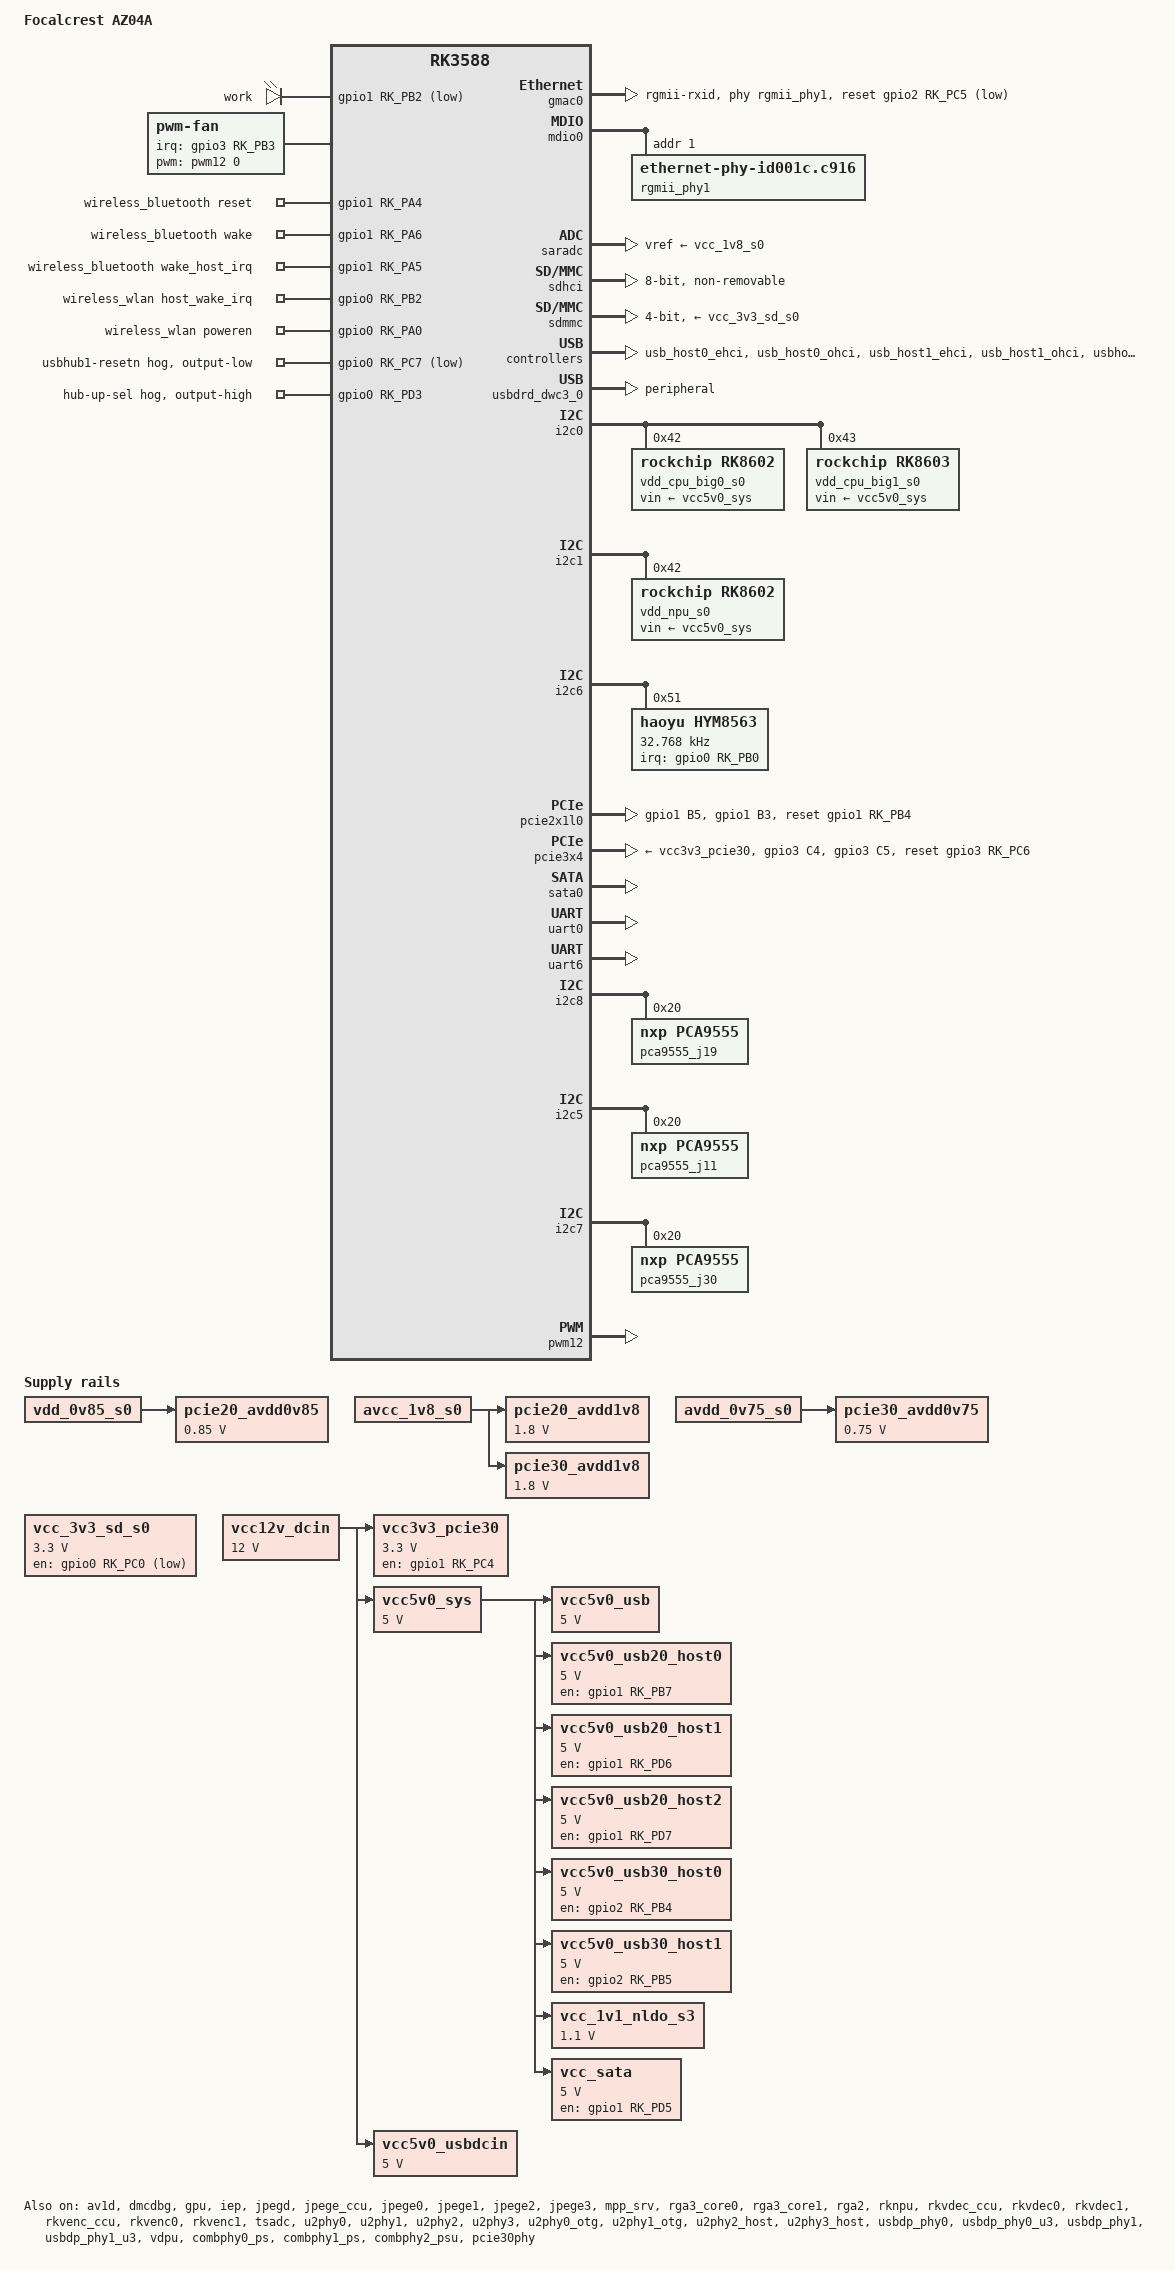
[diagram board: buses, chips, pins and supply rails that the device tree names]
// SPDX-License-Identifier: (GPL-2.0+ OR MIT)
/*
 * Copyright (c) 2025 Rockchip Electronics Co., Ltd.
 * Copyright (c) 2026 Focalcrest Co., Ltd.
 *
 */

/dts-v1/;

#include <dt-bindings/gpio/gpio.h>
#include <dt-bindings/pwm/pwm.h>
#include <dt-bindings/pinctrl/rockchip.h>
#include <dt-bindings/input/rk-input.h>
#include <dt-bindings/display/drm_mipi_dsi.h>
#include <dt-bindings/display/rockchip_vop.h>
#include <dt-bindings/sensor-dev.h>

#include "dt-bindings/usb/pd.h"
#include "rk3588.dtsi"
#include "rk3588-rk806-single.dtsi"
#include "rk3588-linux.dtsi"

/ {
	model = "Focalcrest AZ04A";
	compatible = "rockchip,rk3588-focalcrest-az04a", "rockchip,rk3588";

	leds: gpio-leds {
		compatible = "gpio-leds";

		work_led: work {
			gpios = <&gpio1 RK_PB2 GPIO_ACTIVE_LOW>;
			label = "work";
			linux,default-trigger = "timer";
			pinctrl-names = "default";
			pinctrl-0 = <&work_ctl>;
		};
	};

	pcie20_avdd0v85: pcie20-avdd0v85 {
		compatible = "regulator-fixed";
		regulator-name = "pcie20_avdd0v85";
		regulator-boot-on;
		regulator-always-on;
		regulator-min-microvolt = <850000>;
		regulator-max-microvolt = <850000>;
		vin-supply = <&vdd_0v85_s0>;
	};

	pcie20_avdd1v8: pcie20-avdd1v8 {
		compatible = "regulator-fixed";
		regulator-name = "pcie20_avdd1v8";
		regulator-boot-on;
		regulator-always-on;
		regulator-min-microvolt = <1800000>;
		regulator-max-microvolt = <1800000>;
		vin-supply = <&avcc_1v8_s0>;
	};

	pcie30_avdd0v75: pcie30-avdd0v75 {
		compatible = "regulator-fixed";
		regulator-name = "pcie30_avdd0v75";
		regulator-boot-on;
		regulator-always-on;
		regulator-min-microvolt = <750000>;
		regulator-max-microvolt = <750000>;
		vin-supply = <&avdd_0v75_s0>;
	};

	pcie30_avdd1v8: pcie30-avdd1v8 {
		compatible = "regulator-fixed";
		regulator-name = "pcie30_avdd1v8";
		regulator-boot-on;
		regulator-always-on;
		regulator-min-microvolt = <1800000>;
		regulator-max-microvolt = <1800000>;
		vin-supply = <&avcc_1v8_s0>;
	};

	vcc3v3_pcie30: vcc3v3-pcie30 {
		compatible = "regulator-fixed";
		regulator-name = "vcc3v3_pcie30";
		regulator-min-microvolt = <3300000>;
		regulator-max-microvolt = <3300000>;
		enable-active-high;
		gpios = <&gpio1 RK_PC4 GPIO_ACTIVE_HIGH>;
		startup-delay-us = <5000>;
		vin-supply = <&vcc12v_dcin>;
	};

	/* Q1 AO3407 is a P-FET, so SDMMC_PWREN is active low */
	vcc_3v3_sd_s0: vcc-3v3-sd-s0-regulator {
		compatible = "regulator-fixed";
		gpio = <&gpio0 RK_PC0 GPIO_ACTIVE_LOW>;
		pinctrl-names = "default";
		pinctrl-0 = <&sd_s0_pwr>;
		regulator-name = "vcc_3v3_sd_s0";
		regulator-min-microvolt = <3300000>;
		regulator-max-microvolt = <3300000>;
	};

	vcc12v_dcin: vcc12v-dcin {
		compatible = "regulator-fixed";
		regulator-name = "vcc12v_dcin";
		regulator-always-on;
		regulator-boot-on;
		regulator-min-microvolt = <12000000>;
		regulator-max-microvolt = <12000000>;
	};

	vcc5v0_sys: vcc5v0-sys {
		compatible = "regulator-fixed";
		regulator-name = "vcc5v0_sys";
		regulator-always-on;
		regulator-boot-on;
		regulator-min-microvolt = <5000000>;
		regulator-max-microvolt = <5000000>;
		vin-supply = <&vcc12v_dcin>;
	};

	vcc5v0_usbdcin: vcc5v0-usbdcin {
		compatible = "regulator-fixed";
		regulator-name = "vcc5v0_usbdcin";
		regulator-always-on;
		regulator-boot-on;
		regulator-min-microvolt = <5000000>;
		regulator-max-microvolt = <5000000>;
		vin-supply = <&vcc12v_dcin>;
	};

	/* USB30_HOST2/3 are switched by the hubs, not by the SoC */
	vcc5v0_usb: vcc5v0-usb {
		compatible = "regulator-fixed";
		regulator-name = "vcc5v0_usb";
		regulator-boot-on;
		regulator-always-on;
		regulator-min-microvolt = <5000000>;
		regulator-max-microvolt = <5000000>;
		vin-supply = <&vcc5v0_sys>;
	};

	vcc5v0_usb20_host0: vcc5v0-usb20-host0 {
		compatible = "regulator-fixed";
		regulator-name = "vcc5v0_usb20_host0";
		regulator-boot-on;
		regulator-always-on;
		regulator-min-microvolt = <5000000>;
		regulator-max-microvolt = <5000000>;
		gpio = <&gpio1 RK_PB7 GPIO_ACTIVE_HIGH>;
		enable-active-high;
		startup-delay-us = <5000>;
		vin-supply = <&vcc5v0_sys>;
		pinctrl-names = "default";
		pinctrl-0 = <&usb20_host_pwren0_1v8>;
	};

	vcc5v0_usb20_host1: vcc5v0-usb20-host1 {
		compatible = "regulator-fixed";
		regulator-name = "vcc5v0_usb20_host1";
		regulator-boot-on;
		regulator-always-on;
		regulator-min-microvolt = <5000000>;
		regulator-max-microvolt = <5000000>;
		gpio = <&gpio1 RK_PD6 GPIO_ACTIVE_HIGH>;
		enable-active-high;
		startup-delay-us = <5000>;
		vin-supply = <&vcc5v0_sys>;
		pinctrl-names = "default";
		pinctrl-0 = <&usb20_host_pwren1_1v8>;
	};

	vcc5v0_usb20_host2: vcc5v0-usb20-host2 {
		compatible = "regulator-fixed";
		regulator-name = "vcc5v0_usb20_host2";
		regulator-boot-on;
		regulator-always-on;
		regulator-min-microvolt = <5000000>;
		regulator-max-microvolt = <5000000>;
		gpio = <&gpio1 RK_PD7 GPIO_ACTIVE_HIGH>;
		enable-active-high;
		startup-delay-us = <5000>;
		vin-supply = <&vcc5v0_sys>;
		pinctrl-names = "default";
		pinctrl-0 = <&usb20_host_pwren2_1v8>;
	};

	vcc5v0_usb30_host0: vcc5v0-usb30-host0 {
		compatible = "regulator-fixed";
		regulator-name = "vcc5v0_usb30_host0";
		regulator-boot-on;
		regulator-always-on;
		regulator-min-microvolt = <5000000>;
		regulator-max-microvolt = <5000000>;
		gpio = <&gpio2 RK_PB4 GPIO_ACTIVE_HIGH>;
		enable-active-high;
		startup-delay-us = <5000>;
		vin-supply = <&vcc5v0_sys>;
		pinctrl-names = "default";
		pinctrl-0 = <&usb30_host_pwren0_1v8>;
	};

	vcc5v0_usb30_host1: vcc5v0-usb30-host1 {
		compatible = "regulator-fixed";
		regulator-name = "vcc5v0_usb30_host1";
		regulator-boot-on;
		regulator-always-on;
		regulator-min-microvolt = <5000000>;
		regulator-max-microvolt = <5000000>;
		gpio = <&gpio2 RK_PB5 GPIO_ACTIVE_HIGH>;
		enable-active-high;
		startup-delay-us = <5000>;
		vin-supply = <&vcc5v0_sys>;
		pinctrl-names = "default";
		pinctrl-0 = <&usb30_host_pwren1_1v8>;
	};

	vcc_1v1_nldo_s3: vcc-1v1-nldo-s3 {
		compatible = "regulator-fixed";
		regulator-name = "vcc_1v1_nldo_s3";
		regulator-always-on;
		regulator-boot-on;
		regulator-min-microvolt = <1100000>;
		regulator-max-microvolt = <1100000>;
		vin-supply = <&vcc5v0_sys>;
	};

	vcc_sata: vcc-sata {
		compatible = "regulator-fixed";
		regulator-name = "vcc_sata";
		regulator-min-microvolt = <5000000>;
		regulator-max-microvolt = <5000000>;
		gpio = <&gpio1 RK_PD5 GPIO_ACTIVE_HIGH>;
		enable-active-high;
		startup-delay-us = <5000>;
		vin-supply = <&vcc5v0_sys>;
		pinctrl-names = "default";
		pinctrl-0 = <&sata_pwr>;
	};

	fan: pwm-fan {
		compatible = "pwm-fan";
		interrupt-parent = <&gpio3>;
		interrupts = <RK_PB3 IRQ_TYPE_EDGE_FALLING>;
		pulses-per-revolution = <2>;
		#cooling-cells = <2>;
		pwms = <&pwm12 0 50000 0>;
	};

	wireless_bluetooth: wireless-bluetooth {
		compatible = "bluetooth-platdata";
		clocks = <&hym8563>;
		clock-names = "ext_clock";
		pinctrl-names = "default";
		pinctrl-0 = <&uart6m1_rtsn>;
		BT,reset_gpio    = <&gpio1 RK_PA4 GPIO_ACTIVE_HIGH>;
		BT,wake_gpio     = <&gpio1 RK_PA6 GPIO_ACTIVE_HIGH>;
		BT,wake_host_irq = <&gpio1 RK_PA5 GPIO_ACTIVE_HIGH>;
		status = "okay";
	};

	wireless_wlan: wireless-wlan {
		compatible = "wlan-platdata";
		wifi_chip_type = "ap6275p";
		pinctrl-names = "default";
		pinctrl-0 = <&wifi_host_wake_irq>, <&wifi_poweren_gpio>;
		WIFI,host_wake_irq = <&gpio0 RK_PB2 GPIO_ACTIVE_HIGH>;
		WIFI,poweren_gpio = <&gpio0 RK_PA0 GPIO_ACTIVE_HIGH>;
		status = "okay";
	};

};

&gpio0 {
	/* release USBHUB1 reset (RSTn is active low) */
	usbhub1-resetn-hog {
		gpio-hog;
		gpios = <RK_PC7 GPIO_ACTIVE_LOW>;
		output-low;
		line-name = "usbhub1-resetn";
	};

	/* HUB_UP_SEL high: HUB0 upstream comes from the SoC, not from HUB1 */
	hub-up-sel-hog {
		gpio-hog;
		gpios = <RK_PD3 GPIO_ACTIVE_HIGH>;
		output-high;
		line-name = "hub-up-sel";
	};
};

&gmac0 {
	/* Use rgmii-rxid mode to disable rx delay inside Soc */
	phy-mode = "rgmii-rxid";
	clock_in_out = "output";

	snps,reset-gpio = <&gpio2 RK_PC5 GPIO_ACTIVE_HIGH>;
	snps,reset-active-low;
	/* Reset time is 20ms, 100ms for rtl8211f */
	snps,reset-delays-us = <0 20000 100000>;

	pinctrl-names = "default";
	pinctrl-0 = <&gmac0_miim
		     &gmac0_tx_bus2
		     &gmac0_rx_bus2
		     &gmac0_rgmii_clk
		     &gmac0_rgmii_bus>;

	tx_delay = <0x43>;
	rx_delay = <0x3f>;

	phy-handle = <&rgmii_phy1>;
	status = "okay";
};

&mdio0 {
	rgmii_phy1: phy@1 {
		compatible = "ethernet-phy-id001c.c916";
		reg = <0x1>;
	};
};

/* No display on this board */
&display_subsystem {
	status = "disabled";
};

&drm_logo {
	status = "disabled";
};

&drm_cubic_lut {
	status = "disabled";
};

&av1d {
	status = "okay";
};

&av1d_mmu {
	status = "okay";
};

&cpu_l0 {
	cpu-supply = <&vdd_cpu_lit_s0>;
	mem-supply = <&vdd_cpu_lit_mem_s0>;
};

&cpu_b0 {
	cpu-supply = <&vdd_cpu_big0_s0>;
	mem-supply = <&vdd_cpu_big0_mem_s0>;
};

&cpu_b2 {
	cpu-supply = <&vdd_cpu_big1_s0>;
	mem-supply = <&vdd_cpu_big1_mem_s0>;
};

&dmcdbg {
	status = "okay";
};

&gpu {
	mali-supply = <&vdd_gpu_s0>;
	mem-supply = <&vdd_gpu_mem_s0>;
	status = "okay";
};

&iep {
	status = "okay";
};

&iep_mmu {
	status = "okay";
};

&jpegd {
	status = "okay";
};

&jpegd_mmu {
	status = "okay";
};

&jpege_ccu {
	status = "okay";
};

&jpege0 {
	status = "okay";
};

&jpege0_mmu {
	status = "okay";
};

&jpege1 {
	status = "okay";
};

&jpege1_mmu {
	status = "okay";
};

&jpege2 {
	status = "okay";
};

&jpege2_mmu {
	status = "okay";
};

&jpege3 {
	status = "okay";
};

&jpege3_mmu {
	status = "okay";
};

&mpp_srv {
	status = "okay";
};

&rga3_core0 {
	status = "okay";
};

&rga3_0_mmu {
	status = "okay";
};

&rga3_core1 {
	status = "okay";
};

&rga3_1_mmu {
	status = "okay";
};

&rga2 {
	status = "okay";
};

&rknpu {
	rknpu-supply = <&vdd_npu_s0>;
	mem-supply = <&vdd_npu_mem_s0>;
	status = "okay";
};

&rknpu_mmu {
	status = "okay";
};

&rkvdec_ccu {
	status = "okay";
};

&rkvdec0 {
	status = "okay";
};

&rkvdec0_mmu {
	status = "okay";
};

&rkvdec1 {
	status = "okay";
};

&rkvdec1_mmu {
	status = "okay";
};

&rkvenc_ccu {
	status = "okay";
};

&rkvenc0 {
	venc-supply = <&vdd_vdenc_s0>;
	mem-supply = <&vdd_vdenc_mem_s0>;
	status = "okay";
};

&rkvenc0_mmu {
	status = "okay";
};

&rkvenc1 {
	venc-supply = <&vdd_vdenc_s0>;
	mem-supply = <&vdd_vdenc_mem_s0>;
	status = "okay";
};

&rkvenc1_mmu {
	status = "okay";
};

&rockchip_suspend {
	status = "okay";
	rockchip,sleep-debug-en = <1>;
	/* No RKPM_SLP_32K_EXT: clk32k_in (GPIO0_B2) is used as wifi host wake */
	rockchip,sleep-mode-config = <
		(0
		| RKPM_SLP_ARMOFF_DDRPD
		| RKPM_SLP_PMU_PMUALIVE_32K
		| RKPM_SLP_PMU_DIS_OSC
		)
	>;
	rockchip,wakeup-config = <
		(0
		| RKPM_GPIO_WKUP_EN
		| RKPM_CPU0_WKUP_EN
		)
	>;
};

/* RKPM_SLP_ARMOFF_DDRPD keeps the logic domain alive, so do not cut these */
&vdd_log_s0 {
	regulator-state-mem {
		/delete-property/ regulator-off-in-suspend;
		/delete-property/ regulator-suspend-microvolt;
		regulator-on-in-suspend;
	};
};

&vcc_1v8_s0 {
	regulator-state-mem {
		/delete-property/ regulator-off-in-suspend;
		/delete-property/ regulator-suspend-microvolt;
		regulator-on-in-suspend;
	};
};

&saradc {
	status = "okay";
	vref-supply = <&vcc_1v8_s0>;
};

&sdhci {
	bus-width = <8>;
	no-sdio;
	no-sd;
	non-removable;
	max-frequency = <200000000>;
	mmc-hs400-1_8v;
	mmc-hs400-enhanced-strobe;
	status = "okay";
};

&sdmmc {
	pinctrl-names = "default";
	pinctrl-0 = <&sdmmc_clk &sdmmc_cmd &sdmmc_det &sdmmc_bus4>;
	max-frequency = <200000000>;
	no-sdio;
	no-mmc;
	bus-width = <4>;
	cap-mmc-highspeed;
	cap-sd-highspeed;
	disable-wp;
	sd-uhs-sdr104;
	vmmc-supply = <&vcc_3v3_sd_s0>;
	vqmmc-supply = <&vccio_sd_s0>;
	status = "okay";
};

&tsadc {
	status = "okay";
};

&u2phy0 {
	status = "okay";
};

&u2phy1 {
	status = "okay";
	phy-supply = <&vcc5v0_usb>;
};

&u2phy2 {
	status = "okay";
	phy-supply = <&vcc5v0_usb>;
};

&u2phy3 {
	status = "okay";
	phy-supply = <&vcc5v0_usb>;
};

&u2phy0_otg {
	status = "okay";
	rockchip,typec-vbus-det;
};

&u2phy1_otg {
	status = "okay";
};

&u2phy2_host {
	status = "okay";
	phy-supply = <&vcc5v0_usb>;
};

&u2phy3_host {
	status = "okay";
	phy-supply = <&vcc5v0_usb>;
};

&usb_host0_ehci {
	status = "okay";
};

&usb_host0_ohci {
	status = "okay";
};

&usb_host1_ehci {
	status = "okay";
};

&usb_host1_ohci {
	status = "okay";
};

&usbhost3_0 {
	status = "okay";
};

&usbhost_dwc3_0 {
	status = "okay";
};

// USB3.0/DP Combo PHY0
&usbdp_phy0 {
	status = "okay";
};

&usbdp_phy0_u3 {
	status = "okay";
};

&usbdp_phy1 {
	status = "okay";
};

&usbdp_phy1_u3 {
	status = "okay";
};

&usbdrd3_0 {
	status = "okay";
};

&usbdrd_dwc3_0 {
	dr_mode = "peripheral";
	status = "okay";
};

&usbdrd3_1 {
	status = "okay";
};

&usbdrd_dwc3_1 {
	status = "okay";
};

&vdpu {
	status = "okay";
};

&vdpu_mmu {
	status = "okay";
};

&combphy0_ps {
	status = "okay";
};

&combphy1_ps {
	status = "okay";
};

&combphy2_psu {
	status = "okay";
};

&i2c0 {
	status = "okay";
	pinctrl-names = "default";
	pinctrl-0 = <&i2c0m2_xfer>;

	vdd_cpu_big0_s0: vdd_cpu_big0_mem_s0: rk8602@42 {
		compatible = "rockchip,rk8602";
		reg = <0x42>;
		vin-supply = <&vcc5v0_sys>;
		regulator-compatible = "rk860x-reg";
		regulator-name = "vdd_cpu_big0_s0";
		regulator-min-microvolt = <550000>;
		regulator-max-microvolt = <1050000>;
		regulator-ramp-delay = <2300>;
		rockchip,suspend-voltage-selector = <1>;
		regulator-boot-on;
		regulator-always-on;
		regulator-state-mem {
			regulator-off-in-suspend;
		};
	};

	vdd_cpu_big1_s0: vdd_cpu_big1_mem_s0: rk8603@43 {
		compatible = "rockchip,rk8603";
		reg = <0x43>;
		vin-supply = <&vcc5v0_sys>;
		regulator-compatible = "rk860x-reg";
		regulator-name = "vdd_cpu_big1_s0";
		regulator-min-microvolt = <550000>;
		regulator-max-microvolt = <1050000>;
		regulator-ramp-delay = <2300>;
		rockchip,suspend-voltage-selector = <1>;
		regulator-boot-on;
		regulator-always-on;
		regulator-state-mem {
			regulator-off-in-suspend;
		};
	};
};

&i2c1 {
	status = "okay";
	pinctrl-names = "default";
	pinctrl-0 = <&i2c1m2_xfer>;

	vdd_npu_s0: vdd_npu_mem_s0: rk8602@42 {
		compatible = "rockchip,rk8602";
		reg = <0x42>;
		vin-supply = <&vcc5v0_sys>;
		regulator-compatible = "rk860x-reg";
		regulator-name = "vdd_npu_s0";
		regulator-min-microvolt = <550000>;
		regulator-max-microvolt = <950000>;
		regulator-ramp-delay = <2300>;
		rockchip,suspend-voltage-selector = <1>;
		regulator-boot-on;
		regulator-always-on;
		regulator-state-mem {
			regulator-off-in-suspend;
		};
	};
};

&i2c6 {
	status = "okay";
	pinctrl-0 = <&i2c6m4_xfer>;

	hym8563: hym8563@51 {
		compatible = "haoyu,hym8563";
		reg = <0x51>;
		#clock-cells = <0>;
		clock-frequency = <32768>;
		clock-output-names = "hym8563";
		pinctrl-names = "default";
		pinctrl-0 = <&hym8563_int>;
		interrupt-parent = <&gpio0>;
		interrupts = <RK_PB0 IRQ_TYPE_LEVEL_LOW>;
		wakeup-source;
	};
};

&pcie2x1l0 { // combphy1, to AP6275P
	pinctrl-0 = <&pcie2x1l0_pins>;
	pinctrl-names = "default";
	reset-gpios = <&gpio1 RK_PB4 GPIO_ACTIVE_HIGH>;
	status = "okay";
};

&pcie30phy {
	rockchip,pcie30-phymode = <PHY_MODE_PCIE_AGGREGATION>; /* single PCIe3 x4 */
	status = "okay";
};

&pcie3x4 {
	pinctrl-0 = <&pcie30x4m2_clkreq_wake>;
	pinctrl-names = "default";
	reset-gpios = <&gpio3 RK_PC6 GPIO_ACTIVE_HIGH>;
	vpcie3v3-supply = <&vcc3v3_pcie30>;
	status = "okay";
};

&pinctrl {
	work {
		work_ctl: work-ctl {
			rockchip,pins = <1 RK_PB2 RK_FUNC_GPIO &pcfg_pull_up>;
		};
	};

	sdmmc {
		sd_s0_pwr: sd-s0-pwr {
			rockchip,pins = <0 RK_PC0 RK_FUNC_GPIO &pcfg_pull_up>;
		};
	};

	pcie {
		pcie2x1l0_pins: pcie2x1l0-pins {
			rockchip,pins =
				/* pcie30x1_0_clkreqn_m2 */
				<1 RK_PB5 4 &pcfg_pull_none>,
				/* pcie30x1_0_waken_m2 */
				<1 RK_PB3 4 &pcfg_pull_none>;
		};

		pcie30x4m2_clkreq_wake: pcie30x4m2-clkreq-wake {
			rockchip,pins =
				/* pcie30x4_clkreqn_m2 */
				<3 RK_PC4 4 &pcfg_pull_none>,
				/* pcie30x4_waken_m2 */
				<3 RK_PC5 4 &pcfg_pull_none>;
		};
	};

	wireless-wlan {
		wifi_host_wake_irq: wifi-host-wake-irq {
			rockchip,pins = <0 RK_PB2 RK_FUNC_GPIO &pcfg_pull_down>;
		};

		wifi_poweren_gpio: wifi-poweren-gpio {
			rockchip,pins = <0 RK_PA0 RK_FUNC_GPIO &pcfg_pull_up>;
		};
	};

	hym8563 {
		hym8563_int: hym8563-int {
			rockchip,pins = <0 RK_PB0 RK_FUNC_GPIO &pcfg_pull_up>;
		};
	};

	usb {
		usb20_host_pwren0_1v8: usb20-host-pwren0-1v8 {
			rockchip,pins = <1 RK_PB7 RK_FUNC_GPIO &pcfg_pull_none>;
		};

		usb30_host_pwren0_1v8: usb30-host-pwren0-1v8 {
			rockchip,pins = <2 RK_PB4 RK_FUNC_GPIO &pcfg_pull_none>;
		};

		usb30_host_pwren1_1v8: usb30-host-pwren1-1v8 {
			rockchip,pins = <2 RK_PB5 RK_FUNC_GPIO &pcfg_pull_none>;
		};

		usb20_host_pwren1_1v8: usb20-host-pwren1-1v8 {
			rockchip,pins = <1 RK_PD6 RK_FUNC_GPIO &pcfg_pull_none>;
		};

		usb20_host_pwren2_1v8: usb20-host-pwren2-1v8 {
			rockchip,pins = <1 RK_PD7 RK_FUNC_GPIO &pcfg_pull_none>;
		};
	};

	sata {
		sata_pwr: sata-pwr-en-h-1v8 {
			rockchip,pins = <1 RK_PD5 RK_FUNC_GPIO &pcfg_pull_none>;
		};
	};
};

&sata0 {
	target-supply = <&vcc_sata>;
	status = "okay";
};

&uart0 {
	pinctrl-names = "default";
	pinctrl-0 = <&uart0m2_xfer>;
	status = "okay";
};

&uart6 {
	pinctrl-names = "default";
	pinctrl-0 = <&uart6m1_xfer &uart6m1_ctsn>;
	status = "okay";
};

&i2c8 {
	pinctrl-names = "default";
	pinctrl-0 = <&i2c8m4_xfer>;
	status = "okay";

	pca9555_j19: gpio@20 {
		compatible = "nxp,pca9555";
		gpio-controller;
		#gpio-cells = <2>;
		reg = <0x20>;
	};
};

&i2c5 {
	pinctrl-names = "default";
	pinctrl-0 = <&i2c5m0_xfer>;
	status = "okay";

	pca9555_j11: gpio@20 {
		compatible = "nxp,pca9555";
		gpio-controller;
		#gpio-cells = <2>;
		reg = <0x20>;
	};
};

&i2c7 {
	pinctrl-names = "default";
	pinctrl-0 = <&i2c7m2_xfer>;
	status = "okay";

	pca9555_j30: gpio@20 {
		compatible = "nxp,pca9555";
		gpio-controller;
		#gpio-cells = <2>;
		reg = <0x20>;
	};
};

&pwm12 {
	pinctrl-names = "active";
	pinctrl-0 = <&pwm12m0_pins>;
	status = "okay";
};

